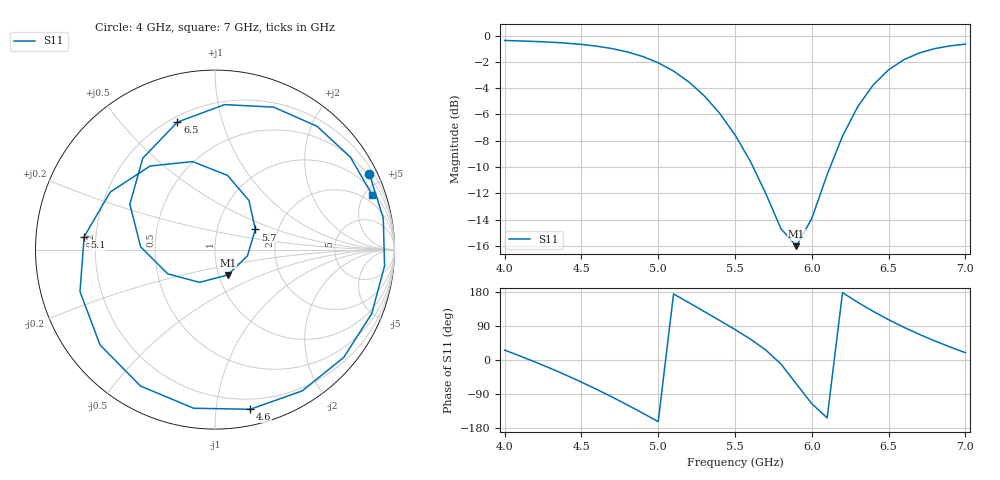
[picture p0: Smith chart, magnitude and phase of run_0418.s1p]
! Touchstone file exported from HFSS 2024.2.0
!  File:  C:/Users/wsak9/Desktop/Sim Fast/Widenad Patch/WP_AI_V1_sweep.aedt
!  Generated:  09:04:33 AM Oct 14, 2026
!  Design:  A1_model
!  Project:  WP_AI_V1_sweep
!  Setup:  Setup1
!  Solution:  Sweep
! Variables:
!  Air_gap = 3.96mm
!  Curve_Amp1 = 0.93
!  Curve_len1 = 1
!  Curve_pos = 10.55mm
!  Extra = 4.87mm
!  H_sub = 0.79mm
!  L_Patch = 17.1mm
!  L_Patch1 = 14.38mm
!  Sx = 4.93mm
!  Sy = 2.47mm
!  WS = 1.07mm
!  W_Patch = 15.32mm
!  W_Patch1 = 9.51mm
!Data is not renormalized
# GHz S MA
! Terminal data exported
! Port[1] = 1
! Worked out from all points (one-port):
!   31 points, 4 GHz to 7 GHz, reference per port
!   lowest |S11| = -16.0 dB at 5.9 GHz (marker M1), VSWR 1.38
!   |S11| at or under -10 dB: 5.618 GHz to 6.12 GHz (501.5 MHz wide, 8.55 % of centre)
!   S11 on the Smith chart (normalised r, x): 4 GHz: 0.42, +4.27; 4.6 GHz: 0.12, -1.24; 5.1 GHz: 0.15, +0.05; 5.7 GHz: 1.53, +0.37; 6.5 GHz: 0.23, +0.72; 7 GHz: 1.29, +5.60
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4  0.9576 26.1
4.2  0.9492 -5.5
4.3  0.9433 -22.3
4.4  0.9355 -39.9
4.5  0.9251 -58.3
4.6  0.911 -77.6
4.7  0.8918 -97.7
4.8  0.8661 -118.6
4.9  0.832 -140.4
5  0.7878 -162.7
5.1  0.7324 174.4
5.2  0.6659 151.2
5.3  0.5896 127.8
5.4  0.5062 104.3
5.5  0.4192 80.4
5.6  0.3327 55.3
5.7  0.2511 26.6
5.9  0.1582 -63.3
6  0.2017 -115.3
6.1  0.2961 -152.8
6.2  0.4147 177.8
6.3  0.5374 152.0
6.4  0.6491 128.3
6.5  0.7407 106.4
6.6  0.8096 86.2
6.7  0.8584 67.6
6.9  0.9134 34.4
7  0.9271 19.3
